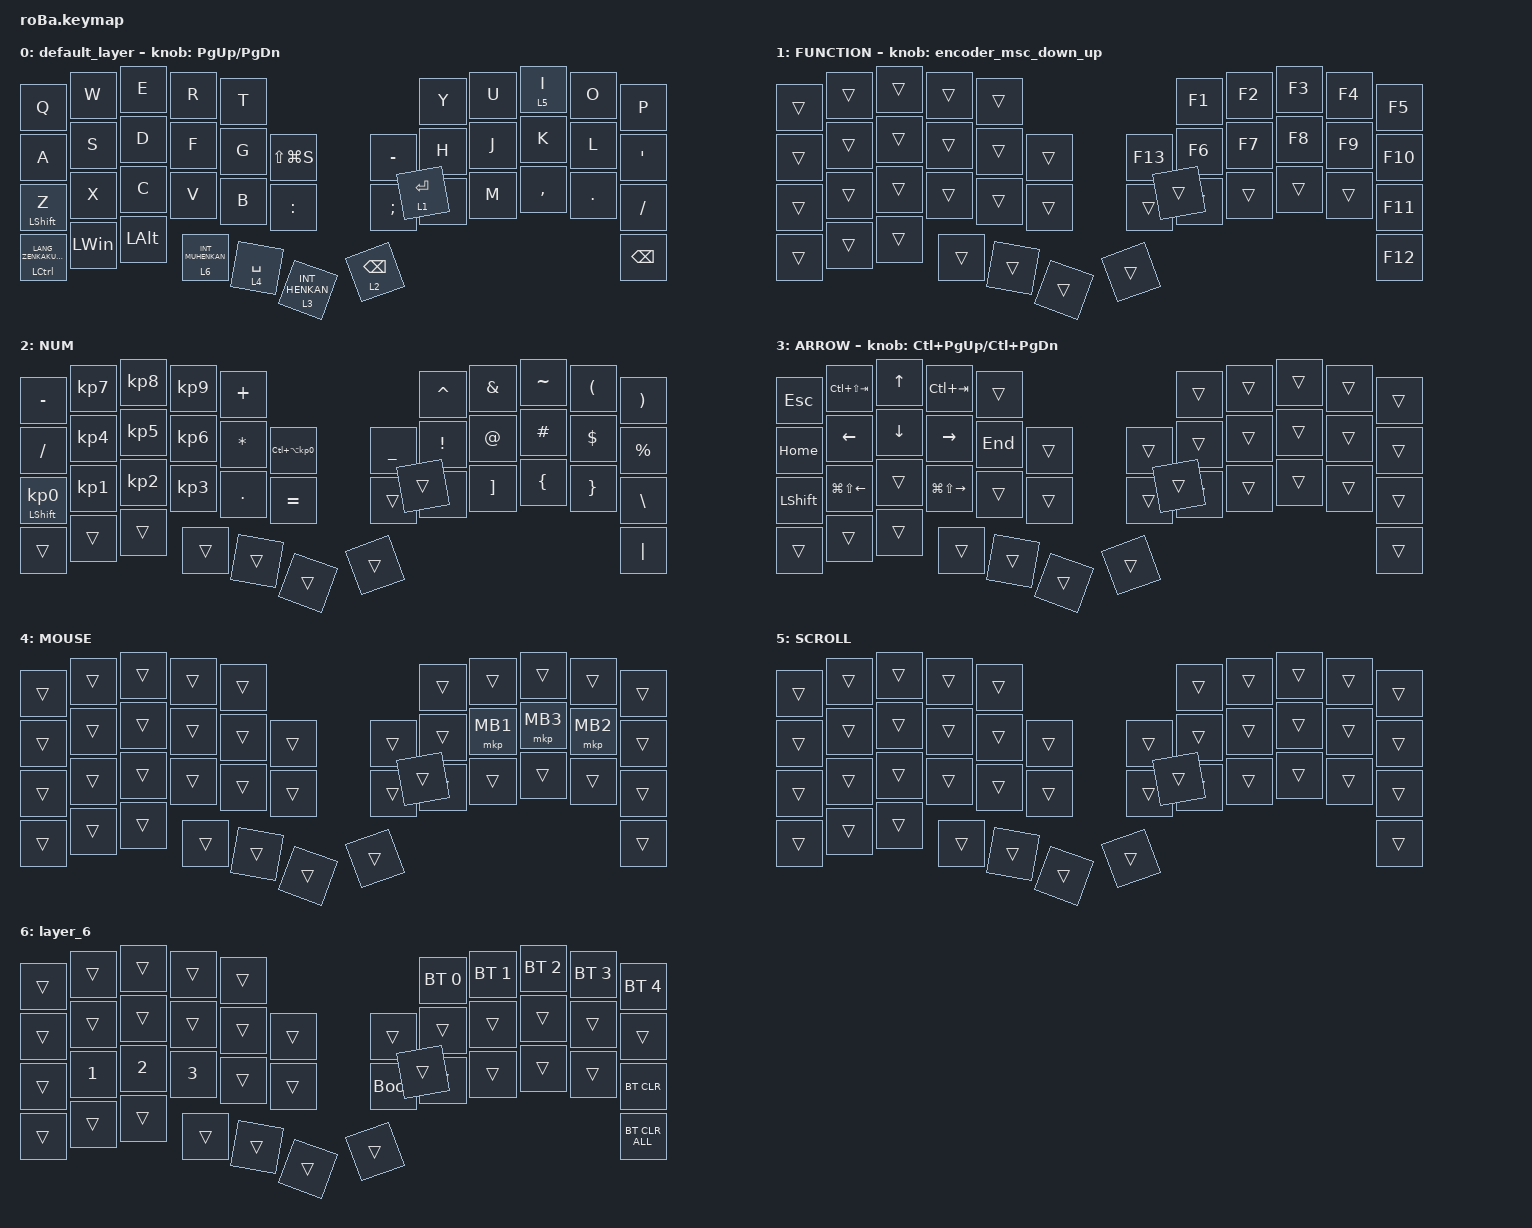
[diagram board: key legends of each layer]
#define ZMK_POINTING_DEFAULT_SCRL_VAL 160
#include <dt-bindings/zmk/pointing.h>

#include <input/processors.dtsi>
#include <dt-bindings/zmk/input_transform.h>
#include <behaviors.dtsi>
#include <dt-bindings/zmk/bt.h>
#include <dt-bindings/zmk/keys.h>


&mt {
    flavor = "balanced";
    quick-tap-ms = <0>;
};

&trackball {
    automouse-layer = <4>;
    scroll-layers = <5>;

    // arrows {
    //     layers = <3>;
    //     bindings =
    //         <&kp RIGHT_ARROW>,
    //         <&kp LEFT_ARROW>,
    //         <&kp UP_ARROW>,
    //         <&kp DOWN_ARROW>;
    //     tick = <10>;
    //     wait-ms = <5>;
    //     tap-ms = <5>;
    // };
};

/ {
  trackball_listener {
    compatible = "zmk,input-listener";
    device = <&trackball>;

    /* Y反転 + 2倍 */
    input-processors =
        //<&zip_xy_transform INPUT_TRANSFORM_Y_INVERT>,
        <&zip_xy_scaler 2 1>;
  };
};

/ {
    combos {
        compatible = "zmk,combos";

        tab {
            bindings = <&kp TAB>;
            key-positions = <11 12>;
        };

        shift_tab {
            bindings = <&kp LS(TAB)>;
            key-positions = <12 13>;
        };

        muhennkann {
            bindings = <&to_layer_0 INT_MUHENKAN>;
            key-positions = <11 10>;
        };

        double_quotation {
            bindings = <&kp DOUBLE_QUOTES>;
            key-positions = <20 21>;
        };

        eq {
            bindings = <&kp EQUAL>;
            key-positions = <24 25>;
        };
    };

    macros {
        to_layer_0: to_layer_0 {
            compatible = "zmk,behavior-macro-one-param";
            #binding-cells = <1>;
            bindings = <&to 0 &macro_param_1to1 &kp MACRO_PLACEHOLDER>;
            label = "TO_LAYER_0";
        };
    };

    behaviors {
        lt_to_layer_0: lt_to_layer_0 {
            compatible = "zmk,behavior-hold-tap";
            label = "LAYER_TAP_TO_0";
            bindings = <&mo>, <&to_layer_0>;

            #binding-cells = <2>;
            tapping-term-ms = <200>;
        };

        encoder_msc_down_up: encoder_msc_down_up {
            compatible = "zmk,behavior-sensor-rotate";
            label = "ENCODER_MSC_DOWN_UP";
            #sensor-binding-cells = <0>;
            bindings = <&msc SCRL_DOWN>, <&msc SCRL_UP>;

            tap-ms = <20>;
        };
    };

    keymap {
        compatible = "zmk,keymap";

        default_layer {
            bindings = <
&kp Q                          &kp W         &kp E         &kp R                          &kp T                                                          &kp Y        &kp U  &lt 5 I    &kp O    &kp P
&kp A                          &kp S         &kp D         &kp F                          &kp G        &kp LS(LG(S))                    &kp MINUS        &kp H        &kp J  &kp K      &kp L    &kp SQT
&mt LEFT_SHIFT Z               &kp X         &kp C         &kp V                          &kp B        &kp COLON                        &kp SEMICOLON    &kp N        &kp M  &kp COMMA  &kp DOT  &kp SLASH
&mt LCTRL LANG_ZENKAKUHANKAKU  &kp LEFT_WIN  &kp LEFT_ALT  &lt_to_layer_0 6 INT_MUHENKAN  &lt 4 SPACE  &lt_to_layer_0 3 INT_HENKAN      &lt 2 BACKSPACE  &lt 1 ENTER                             &kp BACKSPACE
            >;

            sensor-bindings = <&inc_dec_kp PG_UP PAGE_DOWN>;
        };

        FUNCTION {
            bindings = <
&trans  &trans  &trans  &trans  &trans                       &kp F1  &kp F2  &kp F3  &kp F4  &kp F5
&trans  &trans  &trans  &trans  &trans  &trans      &kp F13  &kp F6  &kp F7  &kp F8  &kp F9  &kp F10
&trans  &trans  &trans  &trans  &trans  &trans      &trans   &trans  &trans  &trans  &trans  &kp F11
&trans  &trans  &trans  &trans  &trans  &trans      &trans   &trans                          &kp F12
            >;

            sensor-bindings = <&encoder_msc_down_up>;
        };

        NUM {
            bindings = <
&kp MINUS                   &kp KP_NUMBER_7  &kp KP_NUMBER_8  &kp KP_NUMBER_9  &kp PLUS                                                   &kp CARET         &kp AMPERSAND      &kp TILDE       &kp LEFT_PARENTHESIS  &kp RIGHT_PARENTHESIS
&kp SLASH                   &kp KP_NUMBER_4  &kp KP_NUMBER_5  &kp KP_NUMBER_6  &kp ASTERISK  &kp LC(LA(KP_NUMBER_0))      &kp UNDERSCORE  &kp EXCLAMATION   &kp AT_SIGN        &kp HASH        &kp DOLLAR            &kp PERCENT
&mt LEFT_SHIFT KP_NUMBER_0  &kp KP_NUMBER_1  &kp KP_NUMBER_2  &kp KP_NUMBER_3  &kp PERIOD    &kp EQUAL                    &trans          &kp LEFT_BRACKET  &kp RIGHT_BRACKET  &kp LEFT_BRACE  &kp RIGHT_BRACE       &kp BACKSLASH
&trans                      &trans           &trans           &trans           &trans        &trans                       &trans          &trans                                                                     &kp PIPE
            >;
        };

        ARROW {
            bindings = <
&kp ESCAPE      &kp LC(LS(TAB))         &kp UP_ARROW    &kp LC(TAB)              &trans                       &trans  &trans  &trans  &trans  &trans
&kp HOME        &kp LEFT_ARROW          &kp DOWN_ARROW  &kp RIGHT_ARROW          &kp END  &trans      &trans  &trans  &trans  &trans  &trans  &trans
&kp LEFT_SHIFT  &kp LG(LS(LEFT_ARROW))  &trans          &kp LG(LS(RIGHT_ARROW))  &trans   &trans      &trans  &trans  &trans  &trans  &trans  &trans
&trans          &trans                  &trans          &trans                   &trans   &trans      &trans  &trans                          &trans
            >;

            sensor-bindings = <&inc_dec_kp LC(PAGE_UP) LC(PAGE_DOWN)>;
        };

        MOUSE {
            bindings = <
&trans  &trans  &trans  &trans  &trans                      &trans  &trans    &trans    &trans    &trans
&trans  &trans  &trans  &trans  &trans  &trans      &trans  &trans  &mkp MB1  &mkp MB3  &mkp MB2  &trans
&trans  &trans  &trans  &trans  &trans  &trans      &trans  &trans  &trans    &trans    &trans    &trans
&trans  &trans  &trans  &trans  &trans  &trans      &trans  &trans                                &trans
            >;
        };

        SCROLL {
            bindings = <
&trans  &trans  &trans  &trans  &trans                      &trans  &trans  &trans  &trans  &trans
&trans  &trans  &trans  &trans  &trans  &trans      &trans  &trans  &trans  &trans  &trans  &trans
&trans  &trans  &trans  &trans  &trans  &trans      &trans  &trans  &trans  &trans  &trans  &trans
&trans  &trans  &trans  &trans  &trans  &trans      &trans  &trans                          &trans
            >;
        };

        layer_6 {
            bindings = <
&trans  &trans        &trans        &trans        &trans                           &bt BT_SEL 0  &bt BT_SEL 1  &bt BT_SEL 2  &bt BT_SEL 3  &bt BT_SEL 4
&trans  &trans        &trans        &trans        &trans  &trans      &trans       &trans        &trans        &trans        &trans        &trans
&trans  &kp NUMBER_1  &kp NUMBER_2  &kp NUMBER_3  &trans  &trans      &bootloader  &trans        &trans        &trans        &trans        &bt BT_CLR
&trans  &trans        &trans        &trans        &trans  &trans      &trans       &trans                                                  &bt BT_CLR_ALL
            >;
        };
    };
};
